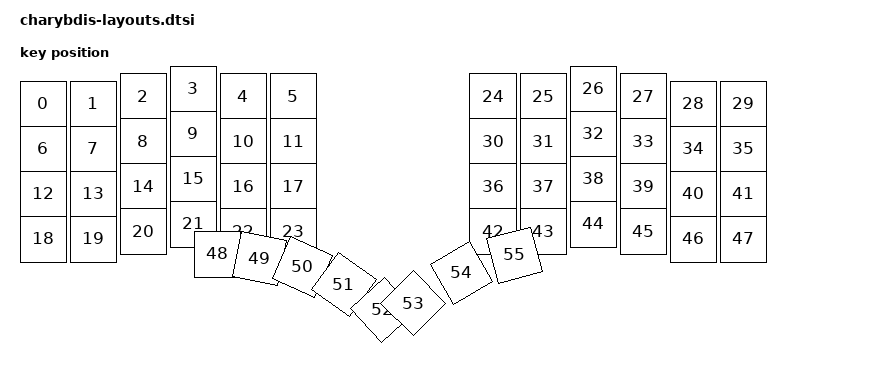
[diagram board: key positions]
#include <physical_layouts.dtsi>

/ {
    charybdis_physical_layout: charybdis_physical_layout {
        compatible = "zmk,physical-layout";
        display-name = "Charybdis 4x6";
        status = "okay";
        kscan = <&kscan0>;
        transform = <&default_transform>;

        keys
            // Left Half - Main Keys
            //                       w   h    x    y     rot    rx    ry
            = <&key_physical_attrs 100 100    0   30       0     0     0>
            , <&key_physical_attrs 100 100  100   30       0     0     0>
            , <&key_physical_attrs 100 100  200   15       0     0     0>
            , <&key_physical_attrs 100 100  300    0       0     0     0>
            , <&key_physical_attrs 100 100  400   15       0     0     0>
            , <&key_physical_attrs 100 100  500   15       0     0     0>
            , <&key_physical_attrs 100 100    0  120       0     0     0>
            , <&key_physical_attrs 100 100  100  120       0     0     0>
            , <&key_physical_attrs 100 100  200  105       0     0     0>
            , <&key_physical_attrs 100 100  300   90       0     0     0>
            , <&key_physical_attrs 100 100  400  105       0     0     0>
            , <&key_physical_attrs 100 100  500  105       0     0     0>
            , <&key_physical_attrs 100 100    0  210       0     0     0>
            , <&key_physical_attrs 100 100  100  210       0     0     0>
            , <&key_physical_attrs 100 100  200  195       0     0     0>
            , <&key_physical_attrs 100 100  300  180       0     0     0>
            , <&key_physical_attrs 100 100  400  195       0     0     0>
            , <&key_physical_attrs 100 100  500  195       0     0     0>
            , <&key_physical_attrs 100 100    0  300       0     0     0>
            , <&key_physical_attrs 100 100  100  300       0     0     0>
            , <&key_physical_attrs 100 100  200  285       0     0     0>
            , <&key_physical_attrs 100 100  300  270       0     0     0>
            , <&key_physical_attrs 100 100  400  285       0     0     0>
            , <&key_physical_attrs 100 100  500  285       0     0     0>

            // Right Half - Main Keys
            //                       w   h    x    y     rot    rx    ry
            , <&key_physical_attrs 100 100  900   15       0     0     0>
            , <&key_physical_attrs 100 100 1000   15       0     0     0>
            , <&key_physical_attrs 100 100 1100    0       0     0     0>
            , <&key_physical_attrs 100 100 1200   15       0     0     0>
            , <&key_physical_attrs 100 100 1300   30       0     0     0>
            , <&key_physical_attrs 100 100 1400   30       0     0     0>
            , <&key_physical_attrs 100 100  900  105       0     0     0>
            , <&key_physical_attrs 100 100 1000  105       0     0     0>
            , <&key_physical_attrs 100 100 1100   90       0     0     0>
            , <&key_physical_attrs 100 100 1200  105       0     0     0>
            , <&key_physical_attrs 100 100 1300  120       0     0     0>
            , <&key_physical_attrs 100 100 1400  120       0     0     0>
            , <&key_physical_attrs 100 100  900  195       0     0     0>
            , <&key_physical_attrs 100 100 1000  195       0     0     0>
            , <&key_physical_attrs 100 100 1100  180       0     0     0>
            , <&key_physical_attrs 100 100 1200  195       0     0     0>
            , <&key_physical_attrs 100 100 1300  210       0     0     0>
            , <&key_physical_attrs 100 100 1400  210       0     0     0>
            , <&key_physical_attrs 100 100  900  285       0     0     0>
            , <&key_physical_attrs 100 100 1000  285       0     0     0>
            , <&key_physical_attrs 100 100 1100  270       0     0     0>
            , <&key_physical_attrs 100 100 1200  285       0     0     0>
            , <&key_physical_attrs 100 100 1300  300       0     0     0>
            , <&key_physical_attrs 100 100 1400  300       0     0     0>

            // Thumb Clusters
            //                       w   h    x    y     rot    rx    ry
            , <&key_physical_attrs 100 100  348  330       0     0     0>
            , <&key_physical_attrs 100 100  348  330    1200   398   790>
            , <&key_physical_attrs 100 100  348  320    2400   398   790>
            , <&key_physical_attrs 100 100  348  308    3600   398   790>
            , <&key_physical_attrs 100 100  348  294    4800   398   790>
            , <&key_physical_attrs 100 100 1052  300 (-4500)  1102   790>
            , <&key_physical_attrs 100 100 1052  310 (-3000)  1102   790>
            , <&key_physical_attrs 100 100 1052  318 (-1500)  1102   790>
            ;
    };
};
